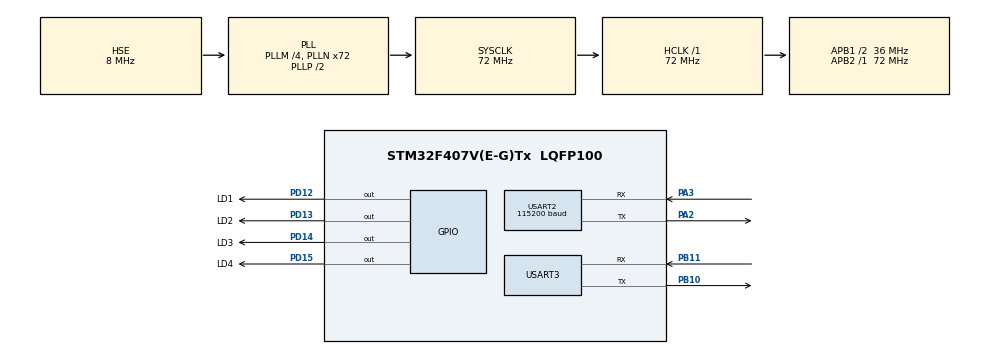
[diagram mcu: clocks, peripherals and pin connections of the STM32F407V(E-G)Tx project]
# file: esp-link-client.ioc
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FREERTOS.Tasks01=defaultTask,0,128,StartDefaultTask,Default,NULL,Dynamic,NULL,NULL
FREERTOS.configUSE_TIMERS=1
Mcu.Family=STM32F4
Mcu.Name=STM32F407V(E-G)Tx
Mcu.Package=LQFP100
NVIC.PriorityGroup=NVIC_PRIORITYGROUP_4
NVIC.TIM6_DAC_IRQn=true\:15\:0\:false\:false\:true\:false\:false\:true
NVIC.TimeBase=TIM6_DAC_IRQn
NVIC.TimeBaseIP=TIM6
NVIC.USART2_IRQn=true\:5\:0\:false\:false\:true\:true\:true\:true
NVIC.USART3_IRQn=true\:5\:0\:false\:false\:true\:true\:true\:true
PA2.Mode=Asynchronous
PA2.Signal=USART2_TX
PA3.Mode=Asynchronous
PA3.Signal=USART2_RX
PB10.Mode=Asynchronous
PB10.Signal=USART3_TX
PB11.Mode=Asynchronous
PB11.Signal=USART3_RX
PD12.GPIO_Label=LD1
PD12.Signal=GPIO_Output
PD13.GPIO_Label=LD2
PD13.Signal=GPIO_Output
PD14.GPIO_Label=LD3
PD14.Signal=GPIO_Output
PD15.GPIO_Label=LD4
PD15.Signal=GPIO_Output
PH0-OSC_IN.Mode=HSE-External-Oscillator
PH0-OSC_IN.Signal=RCC_OSC_IN
PH1-OSC_OUT.Mode=HSE-External-Oscillator
PH1-OSC_OUT.Signal=RCC_OSC_OUT
ProjectManager.HeapSize=0x200
ProjectManager.StackSize=0x400
ProjectManager.TargetToolchain=STM32CubeIDE
RCC.48MHZClocksFreq_Value=36000000
RCC.AHBFreq_Value=72000000
RCC.APB1CLKDivider=RCC_HCLK_DIV2
RCC.APB1Freq_Value=36000000
RCC.APB1TimFreq_Value=72000000
RCC.APB2Freq_Value=72000000
RCC.APB2TimFreq_Value=72000000
RCC.CortexFreq_Value=72000000
RCC.HCLKFreq_Value=72000000
RCC.HSE_VALUE=8000000
RCC.HSI_VALUE=16000000
RCC.LSE_VALUE=32768
RCC.PLLM=4
RCC.PLLN=72
RCC.PLLSourceVirtual=RCC_PLLSOURCE_HSE
RCC.SYSCLKFreq_VALUE=72000000
RCC.SYSCLKSource=RCC_SYSCLKSOURCE_PLLCLK
RCC.VCOOutputFreq_Value=144000000
USART2.BaudRate=115200
USART2.VirtualMode=VM_ASYNC
USART3.VirtualMode=VM_ASYNC
VP_FREERTOS_VS_CMSIS_V1.Mode=CMSIS_V1
VP_SYS_VS_tim6.Mode=TIM6
VP_TIM7_VS_ClockSourceINT.Mode=Enable_Timer
board=custom

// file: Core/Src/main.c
/* USER CODE BEGIN Header */
/**
  ******************************************************************************
  * @file           : main.c
  * @brief          : Main program body
  ******************************************************************************
  * @attention
  *
  * <h2><center>&copy; Copyright (c) 2021 STMicroelectronics.
  * All rights reserved.</center></h2>
  *
  * This software component is licensed by ST under BSD 3-Clause license,
  * the "License"; You may not use this file except in compliance with the
  * License. You may obtain a copy of the License at:
  *                        opensource.org/licenses/BSD-3-Clause
  *
  ******************************************************************************
  */
/* USER CODE END Header */
#include "main.h"
#include "cmsis_os.h"
#include "tim.h"
#include "usart.h"
#include "gpio.h"

/* USER CODE BEGIN Includes */
#include "mqtt.h"
/* USER CODE END Includes */

void SystemClock_Config(void);
void MX_FREERTOS_Init(void);

int main(void)
{

  /* MCU Configuration--------------------------------------------------------*/

  /* Reset of all peripherals, Initializes the Flash interface and the Systick. */
  HAL_Init();

  /* Configure the system clock */
  SystemClock_Config();

  /* Initialize all configured peripherals */
  MX_GPIO_Init();
  MX_USART2_UART_Init();
  MX_TIM7_Init();
  MX_USART3_UART_Init();

  /* Call init function for freertos objects (in freertos.c) */
  MX_FREERTOS_Init();
  /* Start scheduler */
  osKernelStart();

  /* We should never get here as control is now taken by the scheduler */
  /* Infinite loop */
  while (1)
  {

  }
}

void SystemClock_Config(void)
{
  RCC_OscInitTypeDef RCC_OscInitStruct = {0};
  RCC_ClkInitTypeDef RCC_ClkInitStruct = {0};

  /** Configure the main internal regulator output voltage
  */
  __HAL_RCC_PWR_CLK_ENABLE();
  __HAL_PWR_VOLTAGESCALING_CONFIG(PWR_REGULATOR_VOLTAGE_SCALE1);
  /** Initializes the RCC Oscillators according to the specified parameters
  * in the RCC_OscInitTypeDef structure.
  */
  RCC_OscInitStruct.OscillatorType = RCC_OSCILLATORTYPE_HSE;
  RCC_OscInitStruct.HSEState = RCC_HSE_ON;
  RCC_OscInitStruct.PLL.PLLState = RCC_PLL_ON;
  RCC_OscInitStruct.PLL.PLLSource = RCC_PLLSOURCE_HSE;
  RCC_OscInitStruct.PLL.PLLM = 4;
  RCC_OscInitStruct.PLL.PLLN = 72;
  RCC_OscInitStruct.PLL.PLLP = RCC_PLLP_DIV2;
  RCC_OscInitStruct.PLL.PLLQ = 4;
  if (HAL_RCC_OscConfig(&RCC_OscInitStruct) != HAL_OK)
  {
    Error_Handler();
  }
  /** Initializes the CPU, AHB and APB buses clocks
  */
  RCC_ClkInitStruct.ClockType = RCC_CLOCKTYPE_HCLK|RCC_CLOCKTYPE_SYSCLK
                              |RCC_CLOCKTYPE_PCLK1|RCC_CLOCKTYPE_PCLK2;
  RCC_ClkInitStruct.SYSCLKSource = RCC_SYSCLKSOURCE_PLLCLK;
  RCC_ClkInitStruct.AHBCLKDivider = RCC_SYSCLK_DIV1;
  RCC_ClkInitStruct.APB1CLKDivider = RCC_HCLK_DIV2;
  RCC_ClkInitStruct.APB2CLKDivider = RCC_HCLK_DIV1;

  if (HAL_RCC_ClockConfig(&RCC_ClkInitStruct, FLASH_LATENCY_2) != HAL_OK)
  {
    Error_Handler();
  }
}

void HAL_TIM_PeriodElapsedCallback(TIM_HandleTypeDef *htim)
{
  if (htim->Instance == TIM6) {
    HAL_IncTick();
  }
}

void Error_Handler(void)
{
  __disable_irq();
  while (1)
  {
  }
}

/************************ (C) COPYRIGHT STMicroelectronics *****END OF FILE****/

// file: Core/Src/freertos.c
/* USER CODE BEGIN Header */
/**
  ******************************************************************************
  * File Name          : freertos.c
  * Description        : Code for freertos applications
  ******************************************************************************
  * @attention
  *
  * <h2><center>&copy; Copyright (c) 2021 STMicroelectronics.
  * All rights reserved.</center></h2>
  *
  * This software component is licensed by ST under Ultimate Liberty license
  * SLA0044, the "License"; You may not use this file except in compliance with
  * the License. You may obtain a copy of the License at:
  *                             www.st.com/SLA0044
  *
  ******************************************************************************
  */
/* USER CODE END Header */

#include "FreeRTOS.h"
#include "task.h"
#include "main.h"
#include "cmsis_os.h"

/* USER CODE BEGIN Includes */
#include "mqtt.h"
#include "ELClient.h"
#include "ELClientMqtt.h"
/* USER CODE END Includes */

/* USER CODE BEGIN Variables */
osThreadId ELClientRxTaskHandle;
/* USER CODE END Variables */
osThreadId defaultTaskHandle;

/* USER CODE BEGIN FunctionPrototypes */
void StartELClientRxTask(void const * argument);
/* USER CODE END FunctionPrototypes */

void StartDefaultTask(void const * argument);

void MX_FREERTOS_Init(void); /* (MISRA C 2004 rule 8.1) */

/* GetIdleTaskMemory prototype (linked to static allocation support) */
void vApplicationGetIdleTaskMemory( StaticTask_t **ppxIdleTaskTCBBuffer, StackType_t **ppxIdleTaskStackBuffer, uint32_t *pulIdleTaskStackSize );

/* GetTimerTaskMemory prototype (linked to static allocation support) */
void vApplicationGetTimerTaskMemory( StaticTask_t **ppxTimerTaskTCBBuffer, StackType_t **ppxTimerTaskStackBuffer, uint32_t *pulTimerTaskStackSize );

/* USER CODE BEGIN GET_IDLE_TASK_MEMORY */
static StaticTask_t xIdleTaskTCBBuffer;
static StackType_t xIdleStack[configMINIMAL_STACK_SIZE];

void vApplicationGetIdleTaskMemory( StaticTask_t **ppxIdleTaskTCBBuffer, StackType_t **ppxIdleTaskStackBuffer, uint32_t *pulIdleTaskStackSize )
{
  *ppxIdleTaskTCBBuffer = &xIdleTaskTCBBuffer;
  *ppxIdleTaskStackBuffer = &xIdleStack[0];
  *pulIdleTaskStackSize = configMINIMAL_STACK_SIZE;
  /* place for user code */
}
/* USER CODE END GET_IDLE_TASK_MEMORY */

/* USER CODE BEGIN GET_TIMER_TASK_MEMORY */
static StaticTask_t xTimerTaskTCBBuffer;
static StackType_t xTimerStack[configTIMER_TASK_STACK_DEPTH];

void vApplicationGetTimerTaskMemory( StaticTask_t **ppxTimerTaskTCBBuffer, StackType_t **ppxTimerTaskStackBuffer, uint32_t *pulTimerTaskStackSize )
{
  *ppxTimerTaskTCBBuffer = &xTimerTaskTCBBuffer;
  *ppxTimerTaskStackBuffer = &xTimerStack[0];
  *pulTimerTaskStackSize = configTIMER_TASK_STACK_DEPTH;
  /* place for user code */
}
/* USER CODE END GET_TIMER_TASK_MEMORY */

void MX_FREERTOS_Init(void) {
  /* USER CODE BEGIN Init */
  Mqtt_Init();
  /* USER CODE END Init */

  /* Create the thread(s) */
  /* definition and creation of defaultTask */
  osThreadDef(defaultTask, StartDefaultTask, osPriorityNormal, 0, 128);
  defaultTaskHandle = osThreadCreate(osThread(defaultTask), NULL);

  /* USER CODE BEGIN RTOS_THREADS */
  /* add threads, ... */
  osThreadDef(ELClientRxTask, StartELClientRxTask, osPriorityNormal, 0, 512);
  ELClientRxTaskHandle = osThreadCreate(osThread(ELClientRxTask), NULL);

  /* USER CODE END RTOS_THREADS */

}

void StartDefaultTask(void const * argument)
{
  /* USER CODE BEGIN StartDefaultTask */
  static uint32_t  pubCounter = 0;
  char   pubBuffer[64] = {0};

  /* Handshake to check SLIP connection*/
  Mqtt_Sync();
  HAL_GPIO_TogglePin(LD1_GPIO_Port, LD1_Pin); /* Ready indicator*/

  /* Send MQTT request setup */
  ELClientMqtt_setup();

  ELClientMqtt_subscribe("/esp-link/command", 1);
  /* Infinite loop */
  for(;;)
  {
    if ( Mqtt_IsConnected() )
    {
      sprintf(pubBuffer, "Counter = %d\r\n", ++pubCounter);
	    Mqtt_Publish("/esp-link/data", pubBuffer, strlen(pubBuffer));
    }
	  osDelay(3000);
  }
  /* USER CODE END StartDefaultTask */
}

/* USER CODE BEGIN Application */
void StartELClientRxTask(void const * argument)
{
	osDelay(500);
	for (;;)
	{
		 ELClient_Process(0);
	}
}
/* USER CODE END Application */

/************************ (C) COPYRIGHT STMicroelectronics *****END OF FILE****/
